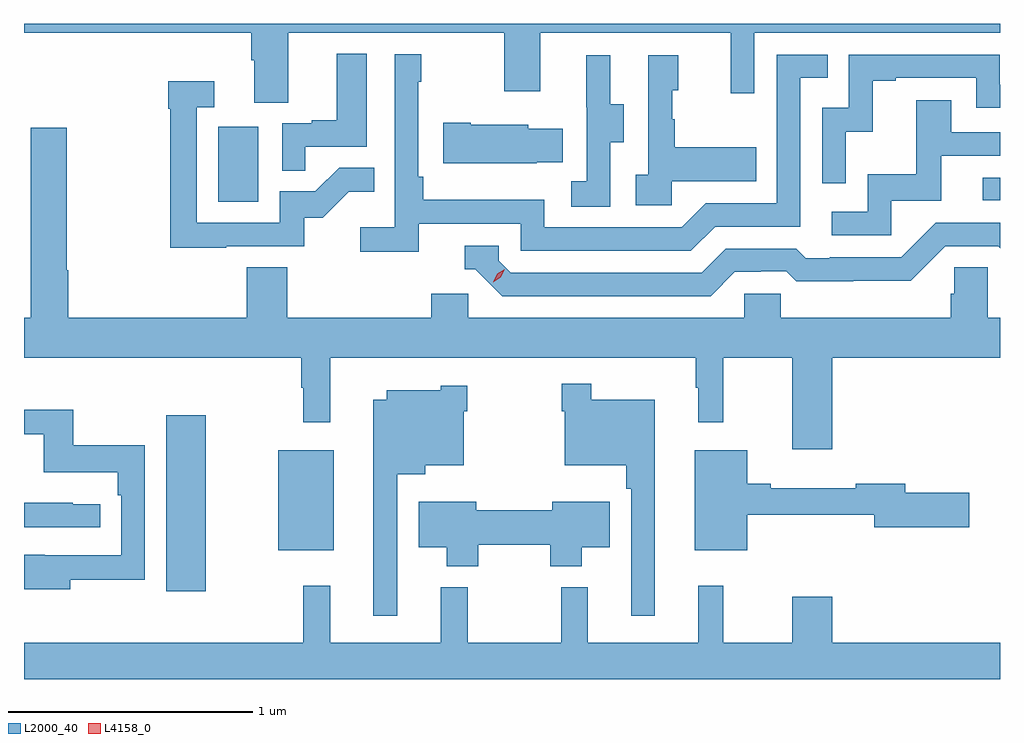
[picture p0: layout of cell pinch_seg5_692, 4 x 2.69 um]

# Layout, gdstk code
import gdstk
lib = gdstk.Library(unit=1e-6, precision=1e-09)
def R(c, l, rs):  # rectangles x0, y0, x1, y1
    for r in rs: c.add(gdstk.rectangle(r[:2], r[2:], *l))
def P(c, l, *ps):  # polygons
    for p in ps: c.add(gdstk.Polygon(p, *l))
L2000_40 = (2000, 40)
L4158_0 = (4158, 0)

pinch_seg5_692 = lib.new_cell('pinch_seg5_692')
R(pinch_seg5_692, L2000_40, [(1133.471,833.16,1133.632,833.881), (1133.93,833.327,1134.157,833.737), (1133.684,834.756,1133.848,835.063), (1136.817,834.762,1136.888,834.855)])
P(pinch_seg5_692, L2000_40, [(1133.971,835.448),(1134.856,835.448),(1134.856,835.209),(1135.003,835.209),(1135.003,835.448),(1135.784,835.448),(1135.784,835.2),(1135.881,835.2),(1135.881,835.448),(1136.888,835.448),(1136.888,835.485),(1132.888,835.485),(1132.888,835.448),(1133.819,835.448),(1133.819,835.336),(1133.831,835.336),(1133.831,835.162),(1133.971,835.162)],
  [(1134.041,834.981),(1134.292,834.981),(1134.292,835.363),(1134.17,835.363),(1134.17,835.09),(1134.067,835.09),(1134.067,835.077),(1133.946,835.077),(1133.946,834.883),(1134.041,834.883)],
  [(1134.506,834.666),(1134.924,834.666),(1134.924,834.555),(1135.621,834.555),(1135.72,834.654),(1136.07,834.654),(1136.07,835.263),(1136.183,835.263),(1136.183,835.359),(1135.974,835.359),(1135.974,834.75),(1135.683,834.75),(1135.584,834.651),(1135.02,834.651),(1135.02,834.763),(1134.524,834.763),(1134.524,834.859),(1134.504,834.859),(1134.504,835.247),(1134.517,835.247),(1134.517,835.36),(1134.408,835.36),(1134.408,834.652),(1134.267,834.652),(1134.267,834.55),(1134.506,834.55)],
  [(1136.256,835.043),(1136.366,835.043),(1136.366,835.251),(1136.461,835.251),(1136.461,835.263),(1136.79,835.263),(1136.79,835.14),(1136.888,835.14),(1136.888,835.236),(1136.886,835.236),(1136.886,835.359),(1136.268,835.359),(1136.268,835.14),(1136.16,835.14),(1136.16,834.831),(1136.256,834.831)],
  [(1135.29,835),(1135.345,835),(1135.345,835.155),(1135.291,835.155),(1135.291,835.357),(1135.193,835.357),(1135.193,835.143),(1135.194,835.143),(1135.194,834.839),(1135.131,834.839),(1135.131,834.736),(1135.29,834.736)],
  [(1135.542,834.839),(1135.889,834.839),(1135.889,834.979),(1135.555,834.979),(1135.555,835.094),(1135.545,835.094),(1135.545,835.212),(1135.57,835.212),(1135.57,835.357),(1135.446,835.357),(1135.446,834.866),(1135.395,834.866),(1135.395,834.741),(1135.542,834.741)],
  [(1133.717,834.573),(1134.036,834.573),(1134.036,834.69),(1134.112,834.69),(1134.219,834.797),(1134.323,834.797),(1134.323,834.896),(1134.18,834.896),(1134.082,834.798),(1133.937,834.798),(1133.937,834.669),(1133.595,834.669),(1133.595,835.143),(1133.668,835.143),(1133.668,835.249),(1133.479,835.249),(1133.479,835.136),(1133.487,835.136),(1133.487,834.568),(1133.717,834.568)],
  [(1136.442,834.759),(1136.647,834.759),(1136.647,834.945),(1136.888,834.945),(1136.888,835.041),(1136.689,835.041),(1136.689,835.171),(1136.545,835.171),(1136.545,834.868),(1136.346,834.868),(1136.346,834.714),(1136.199,834.714),(1136.199,834.618),(1136.442,834.618)],
  [(1134.989,834.917),(1135.097,834.917),(1135.097,835.054),(1134.954,835.054),(1134.954,835.072),(1134.718,835.072),(1134.718,835.08),(1134.606,835.08),(1134.606,834.914),(1134.989,834.914)],
  [(1136.2,834.116),(1136.888,834.116),(1136.888,834.28),(1136.838,834.28),(1136.838,834.488),(1136.701,834.488),(1136.701,834.378),(1136.687,834.378),(1136.687,834.28),(1135.989,834.28),(1135.989,834.378),(1135.839,834.378),(1135.839,834.28),(1134.708,834.28),(1134.708,834.378),(1134.557,834.378),(1134.557,834.28),(1133.966,834.28),(1133.966,834.488),(1133.801,834.488),(1133.801,834.28),(1133.069,834.28),(1133.069,834.476),(1133.064,834.476),(1133.064,835.059),(1132.916,835.059),(1132.916,834.28),(1132.888,834.28),(1132.888,834.116),(1134.025,834.116),(1134.025,833.993),(1134.033,833.993),(1134.033,833.853),(1134.144,833.853),(1134.144,834.116),(1135.641,834.116),(1135.641,833.993),(1135.652,833.993),(1135.652,833.853),(1135.754,833.853),(1135.754,834.116),(1136.036,834.116),(1136.036,833.742),(1136.2,833.742)],
  [(1135.801,834.468),(1135.908,834.468),(1135.908,834.471),(1136.011,834.471),(1136.053,834.429),(1136.286,834.429),(1136.286,834.431),(1136.522,834.431),(1136.664,834.573),(1136.88,834.573),(1136.888,834.565),(1136.888,834.669),(1136.625,834.669),(1136.484,834.528),(1136.191,834.528),(1136.191,834.525),(1136.092,834.525),(1136.053,834.564),(1135.764,834.564),(1135.665,834.465),(1134.882,834.465),(1134.834,834.513),(1134.834,834.576),(1134.695,834.576),(1134.695,834.48),(1134.738,834.48),(1134.849,834.369),(1135.702,834.369)],
  [(1135.474,833.944),(1135.213,833.944),(1135.213,834.01),(1135.092,834.01),(1135.092,833.897),(1135.104,833.897),(1135.104,833.675),(1135.357,833.675),(1135.357,833.579),(1135.377,833.579),(1135.377,833.058),(1135.474,833.058)],
  [(1134.417,833.639),(1134.532,833.639),(1134.532,833.675),(1134.691,833.675),(1134.691,833.897),(1134.705,833.897),(1134.705,834.001),(1134.597,834.001),(1134.597,833.983),(1134.374,833.983),(1134.374,833.944),(1134.32,833.944),(1134.32,833.058),(1134.417,833.058)],
  [(1133.077,833.206),(1133.382,833.206),(1133.382,833.758),(1133.089,833.758),(1133.089,833.904),(1132.888,833.904),(1132.888,833.803),(1132.968,833.803),(1132.968,833.648),(1133.273,833.648),(1133.273,833.552),(1133.286,833.552),(1133.286,833.307),(1132.973,833.307),(1132.973,833.308),(1132.888,833.308),(1132.888,833.168),(1133.077,833.168)],
  [(1135.852,833.472),(1136.372,833.472),(1136.372,833.422),(1136.761,833.422),(1136.761,833.564),(1136.5,833.564),(1136.5,833.6),(1136.296,833.6),(1136.296,833.581),(1135.948,833.581),(1135.948,833.6),(1135.852,833.6),(1135.852,833.737),(1135.637,833.737),(1135.637,833.327),(1135.852,833.327)],
  [(1134.75,833.35),(1135.045,833.35),(1135.045,833.261),(1135.174,833.261),(1135.174,833.339),(1135.288,833.339),(1135.288,833.527),(1135.052,833.527),(1135.052,833.492),(1134.742,833.492),(1134.742,833.527),(1134.506,833.527),(1134.506,833.339),(1134.62,833.339),(1134.62,833.261),(1134.75,833.261)],
  [(1133.2,833.517),(1133.087,833.517),(1133.087,833.522),(1132.888,833.522),(1132.888,833.421),(1133.2,833.421)],
  [(1136.888,832.948),(1136.2,832.948),(1136.2,833.137),(1136.036,833.137),(1136.036,832.948),(1135.754,832.948),(1135.754,833.182),(1135.652,833.182),(1135.652,832.948),(1135.199,832.948),(1135.199,833.176),(1135.089,833.176),(1135.089,832.948),(1134.706,832.948),(1134.706,833.176),(1134.596,833.176),(1134.596,832.948),(1134.143,832.948),(1134.143,833.182),(1134.033,833.182),(1134.033,832.948),(1132.888,832.948),(1132.888,832.799),(1136.888,832.799)])
P(pinch_seg5_692, L4158_0, [(1134.811,834.426),(1134.811,834.427),(1134.827,834.46),(1134.858,834.479),(1134.858,834.479),(1134.858,834.479),(1134.842,834.446),(1134.811,834.426)])

lib.write_gds('pinch_seg5_692.gds')
